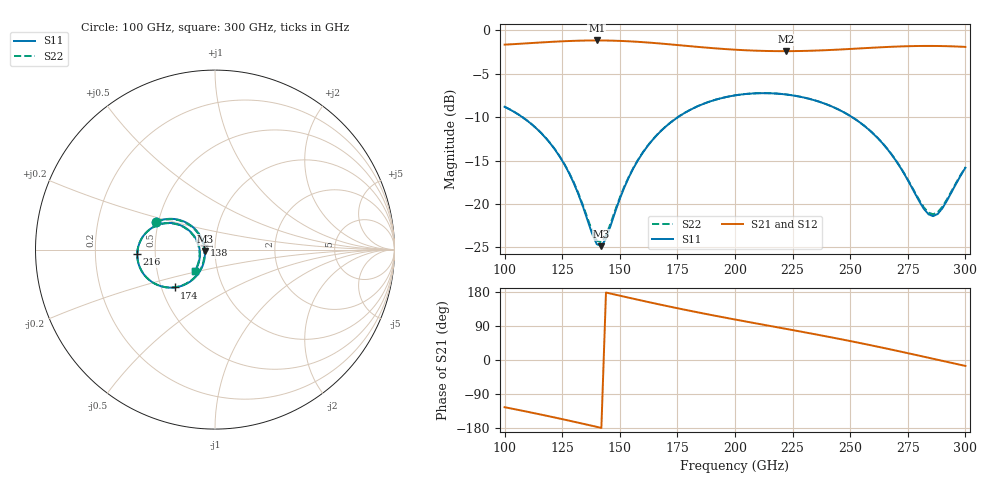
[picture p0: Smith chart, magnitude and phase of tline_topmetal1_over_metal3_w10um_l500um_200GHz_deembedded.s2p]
! Created with skrf 2.2.0 (http://scikit-rf.org).
# GHz S DB R 50.0
! Port[1] = P1
! Port[2] = P2
!freq dBS11 angS11 dBS21 angS21 dBS12 angS12 dBS22 angS22
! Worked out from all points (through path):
!   101 points, 100 GHz to 300 GHz, reference 50 ohm
!   highest |S21| = -1.16 dB at 140 GHz (marker M1); lowest = -2.4 dB at 222 GHz (marker M2)
!   group delay of S21, straight-line fit = 3.43 ps
!   lowest |S11| = -24.9 dB at 142 GHz (marker M3), VSWR 1.12, Z = 44.7 - j0.926 ohm
!   |S11| at or under -10 dB: 107.7 GHz to 175.3 GHz (67.6 GHz wide, 47.8 % of centre); 250.8 GHz to end of sweep
!   |S22| runs from -24.4 to -7.2 dB; largest |S21 - S12| = 1e-13
!   S11 on the Smith chart (normalised r, x): 100 GHz: 0.49, +0.17; 138 GHz: 0.88, +0.05; 174 GHz: 0.59, -0.27; 216 GHz: 0.40, -0.02; 300 GHz: 0.78, -0.19
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100  -8.81 154.8  -1.65 -124.6  -1.65 -124.6  -8.80 155.2
110  -10.45 145.1  -1.49 -136.8  -1.49 -136.8  -10.44 145.7
120  -13.08 136.9  -1.33 -149.5  -1.33 -149.5  -13.06 137.7
128  -16.46 134.2  -1.23 -160.1  -1.23 -160.1  -16.40 135.3
134  -20.31 140.3  -1.18 -168.2  -1.18 -168.2  -20.15 141.8
138  -23.45 156.7  -1.17 -173.7  -1.17 -173.7  -23.13 158.1
140  -24.64 171.9  -1.16 -176.4  -1.16 -176.4  -24.22 172.7
142  -24.87 -169.6  -1.17 -179.2  -1.17 -179.2  -24.42 -169.8
156  -15.84 -124.8  -1.29 161.6  -1.29 161.6  -15.78 -125.6
168  -11.56 -131.5  -1.53 145.6  -1.53 145.6  -11.54 -131.9
174  -10.23 -136.8  -1.67 137.9  -1.67 137.9  -10.22 -137.1
186  -8.50 -148.3  -1.95 123.2  -1.95 123.2  -8.49 -148.5
200  -7.49 -161.8  -2.23 106.9  -2.23 106.9  -7.49 -161.9
216  -7.26 -176.9  -2.39 89.0  -2.39 89.0  -7.25 -176.9
222  -7.39 177.6  -2.40 82.3  -2.40 82.3  -7.38 177.6
234  -8.02 166.7  -2.34 68.8  -2.34 68.8  -8.01 166.8
254  -10.58 149.9  -2.08 45.1  -2.08 45.1  -10.56 150.2
268  -14.33 143.4  -1.89 27.3  -1.89 27.3  -14.29 144.0
282  -20.58 165.7  -1.80 8.6  -1.80 8.6  -20.41 166.3
286  -21.41 -173.9  -1.80 3.2  -1.80 3.2  -21.20 -173.8
290  -20.51 -153.8  -1.81 -2.2  -1.81 -2.2  -20.33 -154.1
300  -15.83 -133.3  -1.91 -15.7  -1.91 -15.7  -15.77 -133.7
